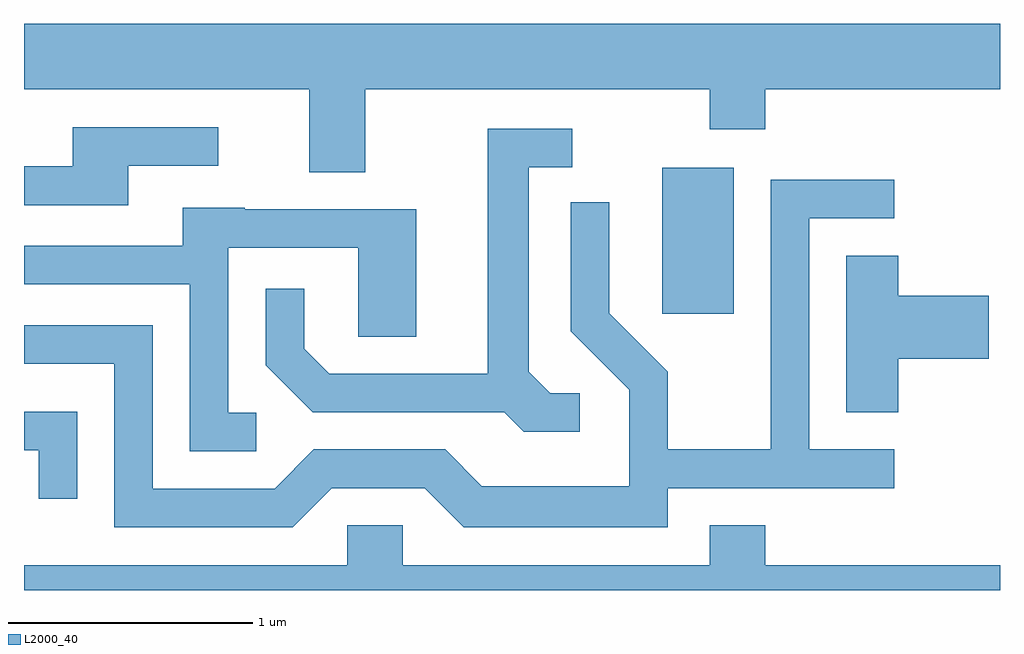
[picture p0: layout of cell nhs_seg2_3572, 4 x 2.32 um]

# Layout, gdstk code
import gdstk
lib = gdstk.Library(unit=1e-6, precision=1e-09)
def R(c, l, rs):  # rectangles x0, y0, x1, y1
    for r in rs: c.add(gdstk.rectangle(r[:2], r[2:], *l))
def P(c, l, *ps):  # polygons
    for p in ps: c.add(gdstk.Polygon(p, *l))
L2000_40 = (2000, 40)

nhs_seg2_3572 = lib.new_cell('nhs_seg2_3572')
R(nhs_seg2_3572, L2000_40, [(292.226,1062.936,292.519,1063.534)])
P(nhs_seg2_3572, L2000_40, [(289.611,1063.856),(290.781,1063.856),(290.781,1063.516),(291.009,1063.516),(291.009,1063.856),(292.421,1063.856),(292.421,1063.691),(292.649,1063.691),(292.649,1063.856),(293.611,1063.856),(293.611,1064.124),(289.611,1064.124)],
  [(290.039,1063.541),(290.408,1063.541),(290.408,1063.699),(289.811,1063.699),(289.811,1063.539),(289.611,1063.539),(289.611,1063.381),(290.039,1063.381)],
  [(291.888,1062.609),(291.767,1062.609),(291.679,1062.697),(291.679,1063.536),(291.858,1063.536),(291.858,1063.694),(291.511,1063.694),(291.511,1062.689),(290.862,1062.689),(290.759,1062.792),(290.759,1063.038),(290.601,1063.038),(290.601,1062.724),(290.794,1062.531),(291.579,1062.531),(291.659,1062.451),(291.888,1062.451)],
  [(290.872,1062.221),(291.254,1062.221),(291.414,1062.061),(292.249,1062.061),(292.249,1062.221),(293.178,1062.221),(293.178,1062.379),(292.829,1062.379),(292.829,1063.326),(293.178,1063.326),(293.178,1063.484),(292.671,1063.484),(292.671,1062.379),(292.249,1062.379),(292.249,1062.697),(292.009,1062.937),(292.009,1063.393),(291.851,1063.393),(291.851,1062.864),(292.091,1062.624),(292.091,1062.229),(291.487,1062.229),(291.337,1062.379),(290.799,1062.379),(290.639,1062.219),(290.139,1062.219),(290.139,1062.889),(289.611,1062.889),(289.611,1062.731),(289.981,1062.731),(289.981,1062.061),(290.712,1062.061)],
  [(290.563,1062.529),(290.449,1062.529),(290.449,1063.206),(290.981,1063.206),(290.981,1062.841),(291.219,1062.841),(291.219,1063.364),(290.515,1063.364),(290.515,1063.369),(290.261,1063.369),(290.261,1063.214),(289.611,1063.214),(289.611,1063.056),(290.291,1063.056),(290.291,1062.371),(290.563,1062.371)],
  [(293.194,1062.751),(293.564,1062.751),(293.564,1063.009),(293.194,1063.009),(293.194,1063.174),(292.981,1063.174),(292.981,1062.531),(293.194,1062.531)],
  [(289.829,1062.534),(289.611,1062.534),(289.611,1062.376),(289.671,1062.376),(289.671,1062.178),(289.829,1062.178)],
  [(293.611,1061.904),(292.649,1061.904),(292.649,1062.069),(292.421,1062.069),(292.421,1061.904),(291.164,1061.904),(291.164,1062.069),(290.936,1062.069),(290.936,1061.904),(289.611,1061.904),(289.611,1061.802),(293.611,1061.802)])

lib.write_gds('nhs_seg2_3572.gds')
